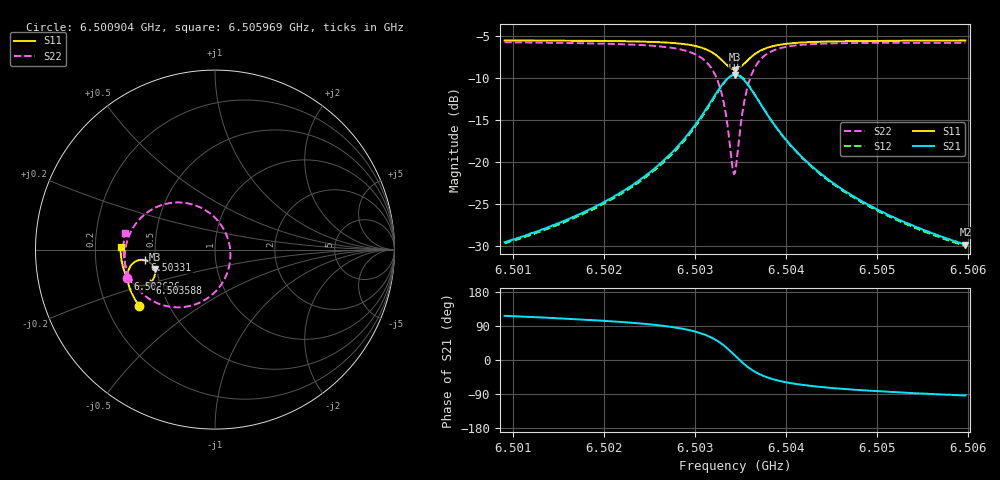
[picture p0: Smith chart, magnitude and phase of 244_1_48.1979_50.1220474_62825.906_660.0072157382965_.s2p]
#  HZ  S  RI  R  50.00
! Rohde & Schwarz Vector Network Analyzer
! Rohde-Schwarz,ZNB20-2Port,1311601062101988,3.16
! Created: UTC 3/20/2024, 11:46:58 AM
! freq[Hz]  re:S11  im:S11  re:S21  im:S21  re:S12  im:S12  re:S22  im:S22
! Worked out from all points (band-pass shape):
!   401 points, 6.500904 GHz to 6.505969 GHz, reference 50 ohm
!   highest |S21| = -9.66 dB at 6.503436 GHz (marker M1); lowest = -29.8 dB at 6.505969 GHz (marker M2)
!   |S21| within 3 dB of the highest: 6.503183 GHz to 6.503689 GHz (506.8 kHz wide, 0.00779 % of centre)
!   lowest |S11| = -9.0 dB at 6.503436 GHz (marker M3), VSWR 2.09, Z = 24.3 - j5.99 ohm
!   |S11| at or under -10 dB: nowhere
!   |S22| runs from -21.5 to -5.8 dB; largest |S21 - S12| = 0.011
!   S11 on the Smith chart (normalised r, x): 6.500904 GHz: 0.34, -0.29; 6.502626 GHz: 0.33, -0.15; 6.50331 GHz: 0.44, -0.06; 6.503588 GHz: 0.44, -0.20; 6.505969 GHz: 0.31, +0.01
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6.5009035e9  -0.424 -0.3123  -0.0149 0.0298  -0.0133 0.0299  -0.4887 -0.1583
6.5017521e9  -0.4609 -0.2499  -0.0144 0.0474  -0.0119 0.047  -0.5026 -0.0687
6.5022333e9  -0.478 -0.2074  -0.0114 0.0675  -0.00825 0.0664  -0.4996 -0.000619
6.5026006e9  -0.4866 -0.1669  -0.00252 0.096  0.00109 0.0938  -0.4805 0.0727
6.5026259e9  -0.4871 -0.1638  -0.00136 0.0987  0.00232 0.0965  -0.4781 0.0788
6.5029172e9  -0.4834 -0.119  0.0259 0.1427  0.0296 0.1382  -0.4215 0.1678
6.5031071e9  -0.4622 -0.0809  0.0799 0.1847  0.0824 0.1786  -0.318 0.2405
6.5032211e9  -0.4296 -0.0602  0.1491 0.2022  0.1499 0.1958  -0.1935 0.2625
6.5033098e9  -0.3892 -0.0586  0.2286 0.1858  0.229 0.1806  -0.0563 0.2215
6.5033478e9  -0.3699 -0.0665  0.2649 0.1624  0.2657 0.1579  0.00361 0.1743
6.5034111e9  -0.3433 -0.0932  0.3124 0.0982  0.3149 0.0932  0.075 0.0506
6.5034364e9  -0.3369 -0.1077  0.3222 0.066  0.3254 0.06  0.0855 -0.00965
6.5034617e9  -0.3342 -0.1234  0.3257 0.0323  0.3292 0.0251  0.0831 -0.0711
6.5035251e9  -0.3415 -0.1605  0.3071 -0.0455  0.3092 -0.0555  0.0267 -0.2059
6.5035884e9  -0.3628 -0.1863  0.2642 -0.0994  0.2629 -0.1105  -0.0703 -0.2881
6.5036897e9  -0.4023 -0.2014  0.1895 -0.1351  0.1841 -0.1445  -0.2204 -0.3215
6.5038543e9  -0.4482 -0.1917  0.108 -0.1318  0.1011 -0.1368  -0.3668 -0.2743
6.5040316e9  -0.4756 -0.1704  0.0637 -0.1116  0.0574 -0.1139  -0.4387 -0.2096
6.5042849e9  -0.4962 -0.1403  0.0338 -0.0876  0.0291 -0.088  -0.4818 -0.1373
6.5046522e9  -0.5113 -0.1021  0.0152 -0.0649  0.0119 -0.0646  -0.5039 -0.0645
6.5051334e9  -0.5211 -0.0577  0.00497 -0.0478  0.00272 -0.0471  -0.5102 0.0032
6.5059693e9  -0.5259 0.0129  -0.00201 -0.0322  -0.00347 -0.0313  -0.5022 0.0913
